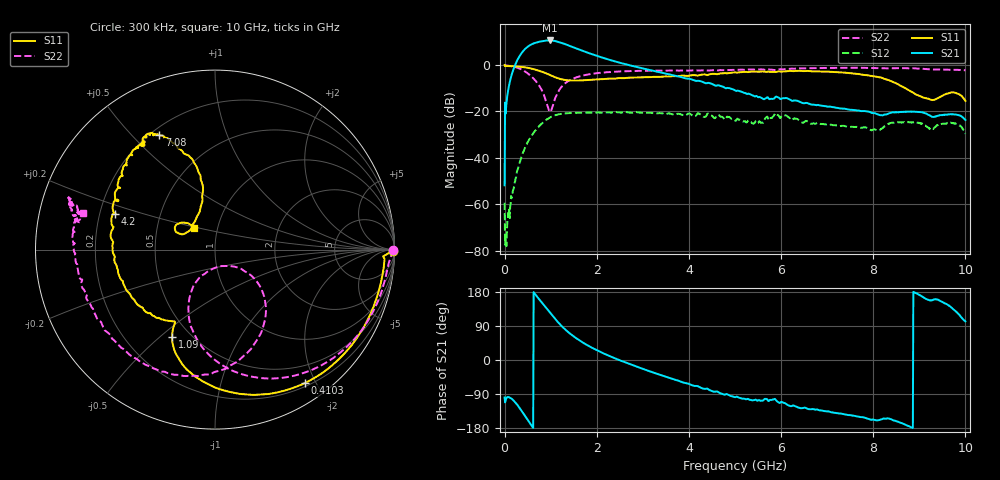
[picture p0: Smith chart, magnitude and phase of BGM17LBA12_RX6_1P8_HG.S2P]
!Agilent Technologies,E5071C,MY46316587,B.13.01
!Date: Fri Dec 08 11:14:17 2017
!Data & Calibration Information:
!Freq	S11:SOLT2(ON)	S21:SOLT2(ON)	S12:SOLT2(ON)	S22:SOLT2(ON)
!PortZ  Port1:50+j0  Port2:50+j0
!Above PortZ is port z conversion or system Z0 setting when saving the data.
!When reading, reference impedance value at option line is always used.
# Hz S dB R 50
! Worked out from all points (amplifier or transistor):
!   1001 points, 300 kHz to 10 GHz, reference 50 ohm
!   highest |S21| = 10.5 dB at 990.3 MHz (marker M1)
!   |S21| within 3 dB of that: 482.4 MHz to 1.499 GHz (1.016 GHz wide, 103 % of centre)
!   unconditionally stable (mu >= 1): start of sweep to end of sweep
!   at 1.66 GHz: K = 1.46, MAG = 9.4 dB, |S12| = -20.6 dB
!   at 5 GHz: K = 6.01, MAG = -4.3 dB, |S12| = -24.0 dB
!   at 10 GHz: K = 94.44, MAG = -19.8 dB, |S12| = -29.6 dB
!   lowest NFmin = 1.12 dB at 800 MHz
!   S11 on the Smith chart (normalised r, x): 300 kHz: open; 410.3 MHz: 0.25, -1.86; 1.09 GHz: 0.40, -0.55; 4.2 GHz: 0.26, +0.16; 7.08 GHz: 0.23, +0.60; 10 GHz: 0.77, +0.19
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300000  -0.06 -0.3  -51.77 -98.9  -59.27 77.2  -0.06 -0.2
6.02982e7  -0.50 -8.7  -13.11 -98.3  -67.57 110.9  -0.35 -11.2
1.00297e8  -0.53 -14.2  -8.51 -98.6  -62.15 139.2  -0.43 -18.1
2.502925e8  -0.63 -34.6  0.93 -114.1  -48.24 163.9  -1.04 -44.3
4.102877e8  -0.95 -56.0  6.08 -141.6  -37.15 152.5  -2.44 -71.1
5.602832e8  -1.51 -74.4  8.58 -168.7  -31.16 134.0  -4.62 -93.1
6.902793e8  -2.19 -88.3  9.63 169.7  -27.68 119.0  -7.29 -108.9
8.402748e8  -3.16 -101.8  10.23 146.8  -24.69 101.6  -12.24 -120.4
9.902703e8  -4.39 -112.2  10.49 124.2  -22.54 83.6  -20.27 -75.3
1.090267e9  -5.28 -116.1  10.30 109.1  -21.70 72.1  -14.73 -36.2
1.360259e9  -6.62 -118.6  8.56 75.7  -20.81 47.9  -7.21 -49.3
1.67025e9  -6.65 -120.8  6.20 48.2  -20.55 29.7  -4.70 -68.9
2.34023e9  -5.92 -134.8  1.80 7.2  -20.51 5.2  -2.98 -97.4
3.3402e9  -5.14 -168.1  -3.07 -37.7  -20.80 -24.6  -2.47 -127.6
4.200174e9  -4.56 160.5  -6.82 -69.5  -20.78 -43.1  -2.43 -154.3
5.00015e9  -3.23 137.0  -10.95 -98.1  -23.96 -64.4  -2.16 -177.3
6.6701e9  -2.80 118.2  -17.09 -129.6  -25.24 -93.5  -1.41 162.0
7.080088e9  -2.98 115.9  -18.02 -137.6  -25.66 -100.8  -1.31 161.0
8.34005e9  -6.61 102.4  -20.88 -154.6  -25.28 -107.4  -1.47 162.4
9.250022e9  -14.98 136.0  -22.02 157.7  -27.68 -164.3  -1.93 163.4
9.700009e9  -11.84 150.7  -21.17 138.0  -24.98 163.2  -2.14 164.8
1e10  -15.50 134.4  -23.71 102.0  -29.63 106.8  -2.35 164.6
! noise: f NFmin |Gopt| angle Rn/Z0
6.5e+08  1.214  0.4751  65.75  0.287
7e+08  1.175  0.5009  69.21  0.2842
7.5e+08  1.132  0.4856  68.71  0.246
8e+08  1.121  0.4556  72.3  0.2365
8.5e+08  1.129  0.4637  78.44  0.2074
9e+08  1.151  0.4475  80.85  0.2111
9.5e+08  1.179  0.4377  84.61  0.2559
1e+09  1.208  0.3758  88.55  0.1993
